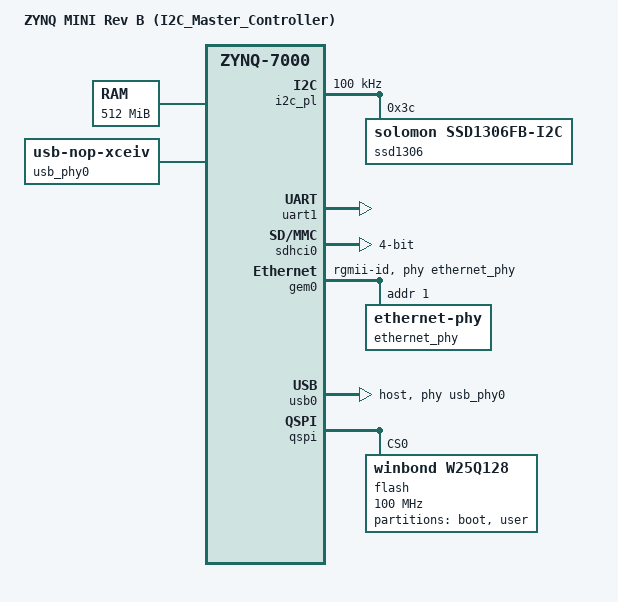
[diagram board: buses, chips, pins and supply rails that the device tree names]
// SPDX-License-Identifier: GPL-2.0+
/*
 * Device Tree Source for ZYNQ MINI Rev B (xc7z010 / xc7z020 — same package)
 * with the I2C_Master_Controller PL design.
 *
 * Includes:
 *   - 512 MiB DDR3 (single MT41J256M16RE-125, 16-bit data bus)
 *   - UART1   (TX=MIO48, RX=MIO49) → /dev/ttyPS0
 *   - SD0     (MIO40..45)          → mmcblk0  (boot)
 *   - GEM0    (MIO16..27)          → eth0     (RTL8211E PHY @ MDIO addr 1)
 *   - USB0    (MIO28..39)          → host
 *   - QSPI    (MIO1..6 + MIO8)     → spi0
 *   - PL i2c@43c00000              → i2c-1, with SSD1306 OLED at 0x3C as child
 *
 * Build:
 *   cpp -nostdinc -I <kernel-source>/include -I <kernel-source>/arch/arm/boot/dts \
 *       -undef -x assembler-with-cpp linux/dts/zynq-mini-revb.dts | \
 *   dtc -O dtb -o linux/dts/zynq-mini-revb.dtb -
 *
 * Buildroot does this automatically (BR2_LINUX_KERNEL_CUSTOM_DTS_PATH).
 */

/dts-v1/;

/*
 * Linux 6.5+ переехал DTS-файлы в vendor-подпапки:
 *   arch/arm/boot/dts/xilinx/zynq-7000.dtsi
 * Buildroot копирует наш .dts в arch/arm/boot/dts/ (корень), поэтому
 * include идёт через относительный путь "xilinx/zynq-7000.dtsi".
 * Если будете билдить под Linux <6.5, замените на "zynq-7000.dtsi".
 */
#include "xilinx/zynq-7000.dtsi"
#include <dt-bindings/gpio/gpio.h>
#include <dt-bindings/interrupt-controller/irq.h>

/ {
	model = "ZYNQ MINI Rev B (I2C_Master_Controller)";
	compatible = "user,zynq-mini-revb", "xlnx,zynq-7000";

	aliases {
		ethernet0 = &gem0;
		i2c0      = &i2c_pl;
		serial0   = &uart1;
		spi0      = &qspi;
	};

	chosen {
		/*
		 * fbcon=font:VGA8x8 — переключает fbcon на 8x8 (вместо 8x16),
		 * чтобы на 128x64 OLED помещалось 16x8 = 128 символов вместо 16x4.
		 * Другие имена (MINI4x6, 6x10, ProFont6x11, 7x14) недоступны,
		 * т.к. в текущей сборке ядра CONFIG_FONTS=n и включены только
		 * CONFIG_FONT_8x8 + CONFIG_FONT_8x16.
		 */
		bootargs = "console=ttyPS0,115200 earlycon fbcon=font:VGA8x8 root=/dev/mmcblk0p2 rootwait rw";
		stdout-path = "serial0:115200n8";
	};

	memory@0 {
		device_type = "memory";
		reg = <0x0 0x20000000>;	/* 512 MiB */
	};

	cpus {
		cpu@0 {
			operating-points = <
				/* kHz   uV */
				 666667 1000000
				 333334  995000
			>;
		};
	};
};

/* ------------------------------------------------------------------ */
/* PS peripherals                                                     */
/* ------------------------------------------------------------------ */

&uart1 {
	status = "okay";
};

&sdhci0 {
	status = "okay";
	bus-width = <4>;
	xlnx,has-cd = <0x0>;	/* TF1 socket has no Card-Detect line */
	xlnx,has-power = <0x0>;
	xlnx,has-wp = <0x0>;
	broken-cd;
	disable-wp;
};

&gem0 {
	status = "okay";
	phy-mode = "rgmii-id";
	phy-handle = <&ethernet_phy>;

	ethernet_phy: ethernet-phy@1 {
		reg = <1>;
		device_type = "ethernet-phy";
	};
};

&usb0 {
	status = "okay";
	dr_mode = "host";
	usb-phy = <&usb_phy0>;
};

&qspi {
	status = "okay";
	is-dual = <0>;
	num-cs = <1>;
	flash@0 {
		compatible = "winbond,w25q128", "jedec,spi-nor";
		reg = <0>;
		spi-max-frequency = <100000000>;
		spi-tx-bus-width = <1>;
		spi-rx-bus-width = <4>;
		#address-cells = <1>;
		#size-cells = <1>;

		partition@0 {
			label = "boot";
			reg = <0x0 0x100000>;
		};
		partition@100000 {
			label = "user";
			reg = <0x100000 0xf00000>;
		};
	};
};

&clkc {
	ps-clk-frequency = <33333333>;
	fclk-enable = <0xf>;	/* enable FCLK0..3 */
};

/ {
	usb_phy0: usb-phy {
		compatible = "usb-nop-xceiv";
		#phy-cells = <0>;
	};
};

/* ------------------------------------------------------------------ */
/* PL — i2c_master_axi                                                */
/* ------------------------------------------------------------------ */

/ {
	amba_pl: amba_pl@0 {
		compatible = "simple-bus";
		#address-cells = <1>;
		#size-cells = <1>;
		ranges;

		i2c_pl: i2c@43c00000 {
			compatible = "user,i2c-master-axi-1.0";
			reg = <0x43c00000 0x1000>;
			interrupt-parent = <&intc>;
			interrupts = <0 29 IRQ_TYPE_LEVEL_HIGH>;
			clocks = <&clkc 15>;	/* FCLK0 = 50 MHz */
			clock-names = "axi";
			clock-frequency = <100000>;
			input-clock-frequency = <50000000>;

			#address-cells = <1>;
			#size-cells = <0>;

			ssd1306: oled@3c {
				compatible = "solomon,ssd1306fb-i2c";
				reg = <0x3c>;
				solomon,height = <64>;
				solomon,width  = <128>;
				solomon,page-offset = <0>;
				solomon,com-invdir;
				solomon,prechargep1 = <2>;
				solomon,prechargep2 = <2>;
				/*
				 * COM pin hardware configuration (command 0xDA):
				 *   Без 'solomon,com-seq'      → Alternative (bit 4 = 1)
				 *   Без 'solomon,com-lrremap'  → no L/R remap   (bit 5 = 0)
				 *   → драйвер шлёт 0xDA 0x12 — точно та же
				 *     последовательность, что используется в рабочих
				 *     примерах SSD1306 (vitis/ssd1306.c и Verilog
				 *     ssd1306_ctrl.v).  С 'solomon,com-lrremap' COM-пины
				 *     0..31 и 32..63 свапаются попарно, что вызывает
				 *     срезание top/bottom row и «пунктирность» в
				 *     компактных глифах.
				 *
				 * 'solomon,com-invdir' (0xC8) переворачивает Y, чтобы
				 * визуальный (0,0) совпадал с верхним-левым углом
				 * физического экрана.
				 */
			};
		};
	};
};
